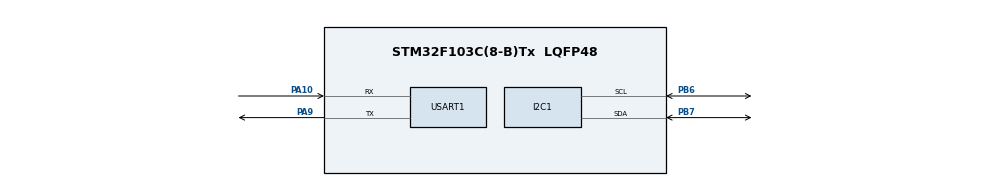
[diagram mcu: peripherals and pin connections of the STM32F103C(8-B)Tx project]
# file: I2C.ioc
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I2C1.I2C_Mode=I2C_Standard
Mcu.Family=STM32F1
Mcu.Name=STM32F103C(8-B)Tx
Mcu.Package=LQFP48
NVIC.PriorityGroup=NVIC_PRIORITYGROUP_4
PA10.Mode=Asynchronous
PA10.Signal=USART1_RX
PA13.Mode=Serial_Wire
PA13.Signal=SYS_JTMS-SWDIO
PA14.Mode=Serial_Wire
PA14.Signal=SYS_JTCK-SWCLK
PA9.Mode=Asynchronous
PA9.Signal=USART1_TX
PB6.Mode=I2C
PB6.Signal=I2C1_SCL
PB7.Mode=I2C
PB7.Signal=I2C1_SDA
PD0-OSC_IN.Mode=HSE-External-Oscillator
PD0-OSC_IN.Signal=RCC_OSC_IN
PD1-OSC_OUT.Mode=HSE-External-Oscillator
PD1-OSC_OUT.Signal=RCC_OSC_OUT
ProjectManager.HeapSize=0x200
ProjectManager.StackSize=0x400
ProjectManager.TargetToolchain=MDK-ARM V5.27
RCC.AHBFreq_Value=72000000
RCC.APB1CLKDivider=RCC_HCLK_DIV2
RCC.APB1Freq_Value=36000000
RCC.APB1TimFreq_Value=72000000
RCC.APB2Freq_Value=72000000
RCC.APB2TimFreq_Value=72000000
RCC.HCLKFreq_Value=72000000
RCC.PLLMUL=RCC_PLL_MUL9
RCC.PLLSourceVirtual=RCC_PLLSOURCE_HSE
RCC.SYSCLKFreq_VALUE=72000000
RCC.SYSCLKSource=RCC_SYSCLKSOURCE_PLLCLK
RCC.USBFreq_Value=72000000
USART1.VirtualMode=VM_ASYNC
board=custom

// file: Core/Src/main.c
/* USER CODE BEGIN Header */
/**
  ******************************************************************************
  * @file           : main.c
  * @brief          : Main program body
  ******************************************************************************
  * @attention
  *
  * <h2><center>&copy; Copyright (c) 2021 STMicroelectronics.
  * All rights reserved.</center></h2>
  *
  * This software component is licensed by ST under BSD 3-Clause license,
  * the "License"; You may not use this file except in compliance with the
  * License. You may obtain a copy of the License at:
  *                        opensource.org/licenses/BSD-3-Clause
  *
  ******************************************************************************
  */
/* USER CODE END Header */
#include "main.h"

/* USER CODE BEGIN Includes */
#include "stdbool.h"
#include "stdio.h"
/* USER CODE END Includes */

/* USER CODE BEGIN PD */
#define X_NOP()		{__NOP();__NOP();__NOP();__NOP();__NOP();__NOP();__NOP();__NOP();}
#define Y_NOP()		X_NOP();X_NOP();X_NOP();X_NOP();X_NOP();X_NOP();X_NOP();X_NOP();X_NOP();X_NOP();
#define Z_NOP()		Y_NOP();Y_NOP();Y_NOP();Y_NOP();Y_NOP();Y_NOP();Y_NOP();Y_NOP();Y_NOP();Y_NOP();
#define Z2_NOP()	Z_NOP();Z_NOP();Z_NOP();Z_NOP();Z_NOP();Z_NOP();Z_NOP();Z_NOP();Z_NOP();Z_NOP();

/* USER CODE END PD */

void SystemClock_Config(void);
static void MX_GPIO_Init(void);
static void MX_I2C1_Init(void);
static void MX_USART1_UART_Init(void);

/* USER CODE BEGIN 0 */

	/* Function for transmitting 8bit data via I2C */
void write_i2c(uint8_t Data)
{
	LL_I2C_TransmitData8(I2C1, Data);
	while(!LL_I2C_IsActiveFlag_TXE(I2C1));
}

	/* Function for receiving 8bit data via I2C */
uint8_t read_i2c(bool IsAck)
{
	if(!IsAck)
		LL_I2C_AcknowledgeNextData(I2C1, LL_I2C_NACK);
	else
		LL_I2C_AcknowledgeNextData(I2C1, LL_I2C_ACK);

	uint8_t Data;
	while(!LL_I2C_IsActiveFlag_RXNE(I2C1));
	Data = LL_I2C_ReceiveData8(I2C1);
	return Data;
}

	/* Function for transmitting 8bit data via USART */
	void write_uart(char data)
	{
		while(!LL_USART_IsActiveFlag_TXE(USART1));
		LL_USART_TransmitData8(USART1, (uint8_t)data);
	}

	/* Retargeting stdout_putchar as to use USART_TX for data output */
	int stdout_putchar (int ch) {
	  write_uart(ch);
	  return (ch);
	}

//////////////////////////////////////
#define I2C_REQUEST_WRITE                       0x00
#define I2C_REQUEST_READ                        0x01
#define I2C_Slave_Adr														(0xA0)

		/* Function for writing 8bit data to the specified address in EEPROM via I2C */
bool E2Prom_Write(uint16_t adr,uint8_t data)
{
	LL_I2C_AcknowledgeNextData(I2C1, LL_I2C_ACK);

	LL_I2C_GenerateStartCondition(I2C1);
	Z_NOP();

	LL_I2C_TransmitData8(I2C1, I2C_Slave_Adr | I2C_REQUEST_WRITE);    	// Set Address of the slave, Enable Write mode
  while(!LL_I2C_IsActiveFlag_ADDR(I2C1)) {}; 													// Loop until ADDR flag is raised
  LL_I2C_ClearFlag_ADDR(I2C1);																				// Clear ADDR flag value in ISR register

	/// memory address
	write_i2c(adr>>8);
	write_i2c(adr&0xFF);

	write_i2c(data);
	LL_I2C_AcknowledgeNextData(I2C1, LL_I2C_NACK);
	while(!LL_I2C_IsActiveFlag_TXE(I2C1));
	LL_I2C_GenerateStopCondition(I2C1);

	return true;
}

		/* Function for reading 8bit data from the specified address in EEPROM via I2C */
uint8_t E2Prom_Read(uint16_t adr)
{
	uint8_t data;
	LL_I2C_GenerateStartCondition(I2C1);
	Z_NOP();

	LL_I2C_TransmitData8(I2C1, I2C_Slave_Adr | I2C_REQUEST_WRITE);    	// Set Address of the slave, Enable Write mode
  while(!LL_I2C_IsActiveFlag_ADDR(I2C1)) {}; 													// Loop until ADDR flag is raised
  LL_I2C_ClearFlag_ADDR(I2C1);																				// Clear ADDR flag value in ISR register

	/// memory address
	write_i2c(adr>>8);
	write_i2c(adr&0xFF);

	LL_I2C_GenerateStartCondition(I2C1);
	Z2_NOP();

	LL_I2C_TransmitData8(I2C1, I2C_Slave_Adr | I2C_REQUEST_READ);    	// Set Address of the slave, Enable Write mode
  while(!LL_I2C_IsActiveFlag_ADDR(I2C1)) {}; 	// Loop until ADDR flag is raised
  LL_I2C_ClearFlag_ADDR(I2C1);								// Clear ADDR flag value in ISR register

	data = read_i2c(false);

	LL_I2C_GenerateStopCondition(I2C1);

	return data;
}
////////////////////////////////////
/* USER CODE END 0 */

int main(void)
{

  /* MCU Configuration--------------------------------------------------------*/

  /* Reset of all peripherals, Initializes the Flash interface and the Systick. */

  LL_APB2_GRP1_EnableClock(LL_APB2_GRP1_PERIPH_AFIO);
  LL_APB1_GRP1_EnableClock(LL_APB1_GRP1_PERIPH_PWR);

  NVIC_SetPriorityGrouping(NVIC_PRIORITYGROUP_4);

  /* System interrupt init*/

  /** NOJTAG: JTAG-DP Disabled and SW-DP Enabled
  */
  LL_GPIO_AF_Remap_SWJ_NOJTAG();

  /* Configure the system clock */
  SystemClock_Config();

  /* Initialize all configured peripherals */
  MX_GPIO_Init();
  MX_I2C1_Init();
  MX_USART1_UART_Init();
  /* USER CODE BEGIN 2 */

	uint8_t buffer1, buffer2;
	LL_I2C_Enable(I2C1);

		E2Prom_Write(0x0000,0x24);								// write 0x24 to the address 0000 of the EEPROM
		LL_mDelay(5);															// Duration of the EEPROM internal write cycle
		E2Prom_Write(0x0001,0x25);
		LL_mDelay(5);
		buffer1 = E2Prom_Read(0x0000);						// read from the address 0000 of the EEPROM
		LL_mDelay(1);															// Delay needed for each read cycle
		buffer2 = E2Prom_Read(0x0001);
		LL_mDelay(1);

		printf("buffer1 is: %x\r\n", buffer1);
		printf("buffer2 is: %x\r\n", buffer2);

  /* USER CODE END 2 */

  /* Infinite loop */
  while (1)
  {

  }
}

void SystemClock_Config(void)
{
  LL_FLASH_SetLatency(LL_FLASH_LATENCY_2);
  while(LL_FLASH_GetLatency()!= LL_FLASH_LATENCY_2)
  {
  }
  LL_RCC_HSE_Enable();

   /* Wait till HSE is ready */
  while(LL_RCC_HSE_IsReady() != 1)
  {

  }
  LL_RCC_PLL_ConfigDomain_SYS(LL_RCC_PLLSOURCE_HSE_DIV_1, LL_RCC_PLL_MUL_9);
  LL_RCC_PLL_Enable();

   /* Wait till PLL is ready */
  while(LL_RCC_PLL_IsReady() != 1)
  {

  }
  LL_RCC_SetAHBPrescaler(LL_RCC_SYSCLK_DIV_1);
  LL_RCC_SetAPB1Prescaler(LL_RCC_APB1_DIV_2);
  LL_RCC_SetAPB2Prescaler(LL_RCC_APB2_DIV_1);
  LL_RCC_SetSysClkSource(LL_RCC_SYS_CLKSOURCE_PLL);

   /* Wait till System clock is ready */
  while(LL_RCC_GetSysClkSource() != LL_RCC_SYS_CLKSOURCE_STATUS_PLL)
  {

  }
  LL_Init1msTick(72000000);
  LL_SetSystemCoreClock(72000000);
}

static void MX_I2C1_Init(void)
{

  LL_I2C_InitTypeDef I2C_InitStruct = {0};

  LL_GPIO_InitTypeDef GPIO_InitStruct = {0};

  LL_APB2_GRP1_EnableClock(LL_APB2_GRP1_PERIPH_GPIOB);
  /**I2C1 GPIO Configuration
  PB6   ------> I2C1_SCL
  PB7   ------> I2C1_SDA
  */
  GPIO_InitStruct.Pin = LL_GPIO_PIN_6|LL_GPIO_PIN_7;
  GPIO_InitStruct.Mode = LL_GPIO_MODE_ALTERNATE;
  GPIO_InitStruct.Speed = LL_GPIO_SPEED_FREQ_HIGH;
  GPIO_InitStruct.OutputType = LL_GPIO_OUTPUT_OPENDRAIN;
  LL_GPIO_Init(GPIOB, &GPIO_InitStruct);

  /* Peripheral clock enable */
  LL_APB1_GRP1_EnableClock(LL_APB1_GRP1_PERIPH_I2C1);

  /** I2C Initialization
  */
  LL_I2C_DisableOwnAddress2(I2C1);
  LL_I2C_DisableGeneralCall(I2C1);
  LL_I2C_EnableClockStretching(I2C1);
  I2C_InitStruct.PeripheralMode = LL_I2C_MODE_I2C;
  I2C_InitStruct.ClockSpeed = 100000;
  I2C_InitStruct.DutyCycle = LL_I2C_DUTYCYCLE_2;
  I2C_InitStruct.OwnAddress1 = 0;
  I2C_InitStruct.TypeAcknowledge = LL_I2C_ACK;
  I2C_InitStruct.OwnAddrSize = LL_I2C_OWNADDRESS1_7BIT;
  LL_I2C_Init(I2C1, &I2C_InitStruct);
  LL_I2C_SetOwnAddress2(I2C1, 0);

}

static void MX_USART1_UART_Init(void)
{

  LL_USART_InitTypeDef USART_InitStruct = {0};

  LL_GPIO_InitTypeDef GPIO_InitStruct = {0};

  /* Peripheral clock enable */
  LL_APB2_GRP1_EnableClock(LL_APB2_GRP1_PERIPH_USART1);

  LL_APB2_GRP1_EnableClock(LL_APB2_GRP1_PERIPH_GPIOA);
  /**USART1 GPIO Configuration
  PA9   ------> USART1_TX
  PA10   ------> USART1_RX
  */
  GPIO_InitStruct.Pin = LL_GPIO_PIN_9;
  GPIO_InitStruct.Mode = LL_GPIO_MODE_ALTERNATE;
  GPIO_InitStruct.Speed = LL_GPIO_SPEED_FREQ_HIGH;
  GPIO_InitStruct.OutputType = LL_GPIO_OUTPUT_PUSHPULL;
  LL_GPIO_Init(GPIOA, &GPIO_InitStruct);

  GPIO_InitStruct.Pin = LL_GPIO_PIN_10;
  GPIO_InitStruct.Mode = LL_GPIO_MODE_FLOATING;
  LL_GPIO_Init(GPIOA, &GPIO_InitStruct);

  USART_InitStruct.BaudRate = 115200;
  USART_InitStruct.DataWidth = LL_USART_DATAWIDTH_8B;
  USART_InitStruct.StopBits = LL_USART_STOPBITS_1;
  USART_InitStruct.Parity = LL_USART_PARITY_NONE;
  USART_InitStruct.TransferDirection = LL_USART_DIRECTION_TX_RX;
  USART_InitStruct.HardwareFlowControl = LL_USART_HWCONTROL_NONE;
  USART_InitStruct.OverSampling = LL_USART_OVERSAMPLING_16;
  LL_USART_Init(USART1, &USART_InitStruct);
  LL_USART_ConfigAsyncMode(USART1);
  LL_USART_Enable(USART1);

}

static void MX_GPIO_Init(void)
{

  /* GPIO Ports Clock Enable */
  LL_APB2_GRP1_EnableClock(LL_APB2_GRP1_PERIPH_GPIOD);
  LL_APB2_GRP1_EnableClock(LL_APB2_GRP1_PERIPH_GPIOA);
  LL_APB2_GRP1_EnableClock(LL_APB2_GRP1_PERIPH_GPIOB);

}

void Error_Handler(void)
{
  __disable_irq();
  while (1)
  {
  }
}

/************************ (C) COPYRIGHT STMicroelectronics *****END OF FILE****/
